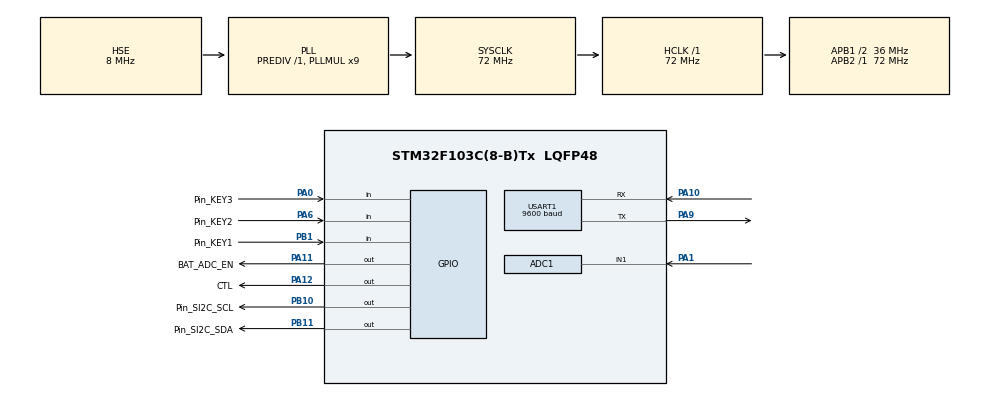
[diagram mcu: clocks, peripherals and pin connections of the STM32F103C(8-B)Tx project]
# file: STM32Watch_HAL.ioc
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ADC1.Channel-0\#ChannelRegularConversion=ADC_CHANNEL_1
ADC1.NbrOfConversionFlag=1
ADC1.Rank-0\#ChannelRegularConversion=1
ADC1.SamplingTime-0\#ChannelRegularConversion=ADC_SAMPLETIME_55CYCLES_5
ADC1.master=1
Mcu.Family=STM32F1
Mcu.Name=STM32F103C(8-B)Tx
Mcu.Package=LQFP48
NVIC.PriorityGroup=NVIC_PRIORITYGROUP_2
NVIC.TIM2_IRQn=true\:2\:1\:true\:false\:true\:true\:true\:true
NVIC.USART1_IRQn=true\:1\:1\:true\:false\:true\:true\:true\:true
PA0-WKUP.GPIO_Label=Pin_KEY3
PA0-WKUP.GPIO_PuPd=GPIO_PULLDOWN
PA0-WKUP.Signal=GPIO_Input
PA1.Signal=ADCx_IN1
PA10.GPIO_PuPd=GPIO_PULLUP
PA10.Mode=Asynchronous
PA10.Signal=USART1_RX
PA11.GPIO_Label=BAT_ADC_EN
PA11.GPIO_Speed=GPIO_SPEED_FREQ_HIGH
PA11.PinState=GPIO_PIN_RESET
PA11.Signal=GPIO_Output
PA12.GPIO_Label=CTL
PA12.GPIO_Speed=GPIO_SPEED_FREQ_HIGH
PA12.PinState=GPIO_PIN_SET
PA12.Signal=GPIO_Output
PA13.Mode=Serial_Wire
PA13.Signal=SYS_JTMS-SWDIO
PA14.Mode=Serial_Wire
PA14.Signal=SYS_JTCK-SWCLK
PA6.GPIO_Label=Pin_KEY2
PA6.GPIO_PuPd=GPIO_PULLUP
PA6.Signal=GPIO_Input
PA9.Mode=Asynchronous
PA9.Signal=USART1_TX
PB1.GPIO_Label=Pin_KEY1
PB1.GPIO_PuPd=GPIO_PULLUP
PB1.Signal=GPIO_Input
PB10.GPIO_Label=Pin_SI2C_SCL
PB10.GPIO_ModeDefaultOutputPP=GPIO_MODE_OUTPUT_OD
PB10.GPIO_PuPd=GPIO_NOPULL
PB10.GPIO_Speed=GPIO_SPEED_FREQ_HIGH
PB10.PinState=GPIO_PIN_SET
PB10.Signal=GPIO_Output
PB11.GPIO_Label=Pin_SI2C_SDA
PB11.GPIO_ModeDefaultOutputPP=GPIO_MODE_OUTPUT_OD
PB11.GPIO_PuPd=GPIO_NOPULL
PB11.GPIO_Speed=GPIO_SPEED_FREQ_HIGH
PB11.PinState=GPIO_PIN_SET
PB11.Signal=GPIO_Output
PC14-OSC32_IN.Mode=LSE-External-Oscillator
PC14-OSC32_IN.Signal=RCC_OSC32_IN
PC15-OSC32_OUT.Mode=LSE-External-Oscillator
PC15-OSC32_OUT.Signal=RCC_OSC32_OUT
PD0-OSC_IN.Mode=HSE-External-Oscillator
PD0-OSC_IN.Signal=RCC_OSC_IN
PD1-OSC_OUT.Mode=HSE-External-Oscillator
PD1-OSC_OUT.Signal=RCC_OSC_OUT
ProjectManager.HeapSize=0x200
ProjectManager.StackSize=0x400
ProjectManager.TargetToolchain=MDK-ARM V5.32
RCC.ADCPresc=RCC_ADCPCLK2_DIV6
RCC.AHBFreq_Value=72000000
RCC.APB1CLKDivider=RCC_HCLK_DIV2
RCC.APB1Freq_Value=36000000
RCC.APB1TimFreq_Value=72000000
RCC.APB2Freq_Value=72000000
RCC.APB2TimFreq_Value=72000000
RCC.HCLKFreq_Value=72000000
RCC.PLLMUL=RCC_PLL_MUL9
RCC.PLLSourceVirtual=RCC_PLLSOURCE_HSE
RCC.RTCClockSelection=RCC_RTCCLKSOURCE_LSE
RCC.SYSCLKFreq_VALUE=72000000
RCC.SYSCLKSource=RCC_SYSCLKSOURCE_PLLCLK
RCC.USBFreq_Value=72000000
SH.ADCx_IN1.0=ADC1_IN1,IN1
TIM2.AutoReloadPreload=TIM_AUTORELOAD_PRELOAD_ENABLE
TIM2.Period=99
TIM2.Prescaler=719
USART1.BaudRate=9600
USART1.VirtualMode=VM_ASYNC
VP_RTC_VS_RTC_Activate.Mode=RTC_Enabled
VP_TIM2_VS_ClockSourceINT.Mode=Internal
board=custom

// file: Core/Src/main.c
/* USER CODE BEGIN Header */
/**
  ******************************************************************************
  * @file           : main.c
  * @brief          : Main program body
  ******************************************************************************
  * @attention
  *
  * Copyright (c) 2026 STMicroelectronics.
  * All rights reserved.
  *
  * This software is licensed under terms that can be found in the LICENSE file
  * in the root directory of this software component.
  * If no LICENSE file comes with this software, it is provided AS-IS.
  *
  ******************************************************************************
  */
/* USER CODE END Header */
#include "main.h"

ADC_HandleTypeDef hadc1;

RTC_HandleTypeDef hrtc;

TIM_HandleTypeDef htim2;

UART_HandleTypeDef huart1;

/* USER CODE BEGIN PV */
uint8_t RxByte;        // Rx接收到的数据
extern RTC_TimeTypeDef sTime;
extern RTC_DateTypeDef sDate;

/* USER CODE END PV */

void SystemClock_Config(void);
static void MX_GPIO_Init(void);
static void MX_ADC1_Init(void);
static void MX_RTC_Init(void);
static void MX_TIM2_Init(void);
static void MX_USART1_UART_Init(void);

/* USER CODE BEGIN 0 */

uint8_t free_sec; //???????

/* USER CODE END 0 */

int main(void)
{

  /* USER CODE BEGIN 1 */

	int DisplayPage;
	extern int press_time;
	extern uint8_t Key_Num;
	//uint8_t RxByte;        // ?????Rx???????????

  /* USER CODE END 1 */

  /* MCU Configuration--------------------------------------------------------*/

  /* Reset of all peripherals, Initializes the Flash interface and the Systick. */
  HAL_Init();

  /* Configure the system clock */
  SystemClock_Config();

  /* Initialize all configured peripherals */
  MX_GPIO_Init();
  MX_ADC1_Init();
  MX_RTC_Init();
  MX_TIM2_Init();
  MX_USART1_UART_Init();
  /* USER CODE BEGIN 2 */

	/*OLED初始化*/
	OLED_Init();
	OLED_Clear();

	HAL_TIM_Base_Start_IT(&htim2);    //使能TIM2
	HAL_UART_Receive_IT(&huart1, &RxByte, sizeof(RxByte));//使能USART1

  /* USER CODE END 2 */

  /* Infinite loop */
  /* USER CODE BEGIN WHILE */
  while (1)
  {

		DisplayPage=Interaction_MainPage();
		switch(DisplayPage)
			{
				case 1:      Enter_Menu();    							break;
				case 2:			Interaction_SettingPage();    	break;
				default: 																		break;
			}

    /* USER CODE END WHILE */

  }
}

void SystemClock_Config(void)
{
  RCC_OscInitTypeDef RCC_OscInitStruct = {0};
  RCC_ClkInitTypeDef RCC_ClkInitStruct = {0};
  RCC_PeriphCLKInitTypeDef PeriphClkInit = {0};

  /** Initializes the RCC Oscillators according to the specified parameters
  * in the RCC_OscInitTypeDef structure.
  */
  RCC_OscInitStruct.OscillatorType = RCC_OSCILLATORTYPE_HSE|RCC_OSCILLATORTYPE_LSE;
  RCC_OscInitStruct.HSEState = RCC_HSE_ON;
  RCC_OscInitStruct.HSEPredivValue = RCC_HSE_PREDIV_DIV1;
  RCC_OscInitStruct.LSEState = RCC_LSE_ON;
  RCC_OscInitStruct.HSIState = RCC_HSI_ON;
  RCC_OscInitStruct.PLL.PLLState = RCC_PLL_ON;
  RCC_OscInitStruct.PLL.PLLSource = RCC_PLLSOURCE_HSE;
  RCC_OscInitStruct.PLL.PLLMUL = RCC_PLL_MUL9;
  if (HAL_RCC_OscConfig(&RCC_OscInitStruct) != HAL_OK)
  {
    Error_Handler();
  }

  /** Initializes the CPU, AHB and APB buses clocks
  */
  RCC_ClkInitStruct.ClockType = RCC_CLOCKTYPE_HCLK|RCC_CLOCKTYPE_SYSCLK
                              |RCC_CLOCKTYPE_PCLK1|RCC_CLOCKTYPE_PCLK2;
  RCC_ClkInitStruct.SYSCLKSource = RCC_SYSCLKSOURCE_PLLCLK;
  RCC_ClkInitStruct.AHBCLKDivider = RCC_SYSCLK_DIV1;
  RCC_ClkInitStruct.APB1CLKDivider = RCC_HCLK_DIV2;
  RCC_ClkInitStruct.APB2CLKDivider = RCC_HCLK_DIV1;

  if (HAL_RCC_ClockConfig(&RCC_ClkInitStruct, FLASH_LATENCY_2) != HAL_OK)
  {
    Error_Handler();
  }
  PeriphClkInit.PeriphClockSelection = RCC_PERIPHCLK_RTC|RCC_PERIPHCLK_ADC;
  PeriphClkInit.RTCClockSelection = RCC_RTCCLKSOURCE_LSE;
  PeriphClkInit.AdcClockSelection = RCC_ADCPCLK2_DIV6;
  if (HAL_RCCEx_PeriphCLKConfig(&PeriphClkInit) != HAL_OK)
  {
    Error_Handler();
  }
}

static void MX_ADC1_Init(void)
{

  ADC_ChannelConfTypeDef sConfig = {0};

  /** Common config
  */
  hadc1.Instance = ADC1;
  hadc1.Init.ScanConvMode = ADC_SCAN_DISABLE;
  hadc1.Init.ContinuousConvMode = DISABLE;
  hadc1.Init.DiscontinuousConvMode = DISABLE;
  hadc1.Init.ExternalTrigConv = ADC_SOFTWARE_START;
  hadc1.Init.DataAlign = ADC_DATAALIGN_RIGHT;
  hadc1.Init.NbrOfConversion = 1;
  if (HAL_ADC_Init(&hadc1) != HAL_OK)
  {
    Error_Handler();
  }

  /** Configure Regular Channel
  */
  sConfig.Channel = ADC_CHANNEL_1;
  sConfig.Rank = ADC_REGULAR_RANK_1;
  sConfig.SamplingTime = ADC_SAMPLETIME_55CYCLES_5;
  if (HAL_ADC_ConfigChannel(&hadc1, &sConfig) != HAL_OK)
  {
    Error_Handler();
  }

}

static void MX_RTC_Init(void)
{

  /* USER CODE BEGIN RTC_Init 0 */

	//上电唤醒 OR 待机唤醒
	if (HAL_RTCEx_BKUPRead(&hrtc,RTC_BKP_DR1) == 0xA5A5)
  {
//		// 恢复日期到 DateToUpdate
//    sDate.Year  = HAL_RTCEx_BKUPRead(&hrtc, RTC_BKP_DR2) >> 8;
//    sDate.Month = HAL_RTCEx_BKUPRead(&hrtc, RTC_BKP_DR2) & 0xFF;
//		//0xFF 的二进制是 0000 0000 0000 0000 0000 0000 1111 1111
//    sDate.Date  = HAL_RTCEx_BKUPRead(&hrtc, RTC_BKP_DR3) >> 8;
//
//		sTime.Hours = HAL_RTCEx_BKUPRead(&hrtc, RTC_BKP_DR3) & 0xFF;
//		sTime.Minutes = HAL_RTCEx_BKUPRead(&hrtc, RTC_BKP_DR4) >> 8;
//		sTime.Seconds = HAL_RTCEx_BKUPRead(&hrtc, RTC_BKP_DR4) & 0xFF;
//
//    HAL_RTC_SetDate(&hrtc, &sDate, RTC_FORMAT_BIN);  // 只更新 DateToUpdate，不碰 CNT

		return; //跳过初始化
  }

  /* USER CODE END RTC_Init 0 */

  /** Initialize RTC Only
  */
  hrtc.Instance = RTC;
  hrtc.Init.AsynchPrediv = RTC_AUTO_1_SECOND;
  hrtc.Init.OutPut = RTC_OUTPUTSOURCE_ALARM;
  if (HAL_RTC_Init(&hrtc) != HAL_OK)
  {
    Error_Handler();
  }
  /* USER CODE BEGIN RTC_Init 2 */
	//MyRTC_ReadTime();
	MyRTC_SetTime(&hrtc);
	HAL_RTCEx_BKUPWrite(&hrtc, RTC_BKP_DR1, 0xA5A5);//指定备份寄存器位置写入自定标志位用于判断是否为初次初始化

  /* USER CODE END RTC_Init 2 */

}

static void MX_TIM2_Init(void)
{

  TIM_ClockConfigTypeDef sClockSourceConfig = {0};
  TIM_MasterConfigTypeDef sMasterConfig = {0};

  htim2.Instance = TIM2;
  htim2.Init.Prescaler = 719;
  htim2.Init.CounterMode = TIM_COUNTERMODE_UP;
  htim2.Init.Period = 99;
  htim2.Init.ClockDivision = TIM_CLOCKDIVISION_DIV1;
  htim2.Init.AutoReloadPreload = TIM_AUTORELOAD_PRELOAD_ENABLE;
  if (HAL_TIM_Base_Init(&htim2) != HAL_OK)
  {
    Error_Handler();
  }
  sClockSourceConfig.ClockSource = TIM_CLOCKSOURCE_INTERNAL;
  if (HAL_TIM_ConfigClockSource(&htim2, &sClockSourceConfig) != HAL_OK)
  {
    Error_Handler();
  }
  sMasterConfig.MasterOutputTrigger = TIM_TRGO_RESET;
  sMasterConfig.MasterSlaveMode = TIM_MASTERSLAVEMODE_DISABLE;
  if (HAL_TIMEx_MasterConfigSynchronization(&htim2, &sMasterConfig) != HAL_OK)
  {
    Error_Handler();
  }

}

static void MX_USART1_UART_Init(void)
{

  huart1.Instance = USART1;
  huart1.Init.BaudRate = 9600;
  huart1.Init.WordLength = UART_WORDLENGTH_8B;
  huart1.Init.StopBits = UART_STOPBITS_1;
  huart1.Init.Parity = UART_PARITY_NONE;
  huart1.Init.Mode = UART_MODE_TX_RX;
  huart1.Init.HwFlowCtl = UART_HWCONTROL_NONE;
  huart1.Init.OverSampling = UART_OVERSAMPLING_16;
  if (HAL_UART_Init(&huart1) != HAL_OK)
  {
    Error_Handler();
  }

}

static void MX_GPIO_Init(void)
{
  GPIO_InitTypeDef GPIO_InitStruct = {0};

  /* GPIO Ports Clock Enable */
  __HAL_RCC_GPIOC_CLK_ENABLE();
  __HAL_RCC_GPIOD_CLK_ENABLE();
  __HAL_RCC_GPIOA_CLK_ENABLE();
  __HAL_RCC_GPIOB_CLK_ENABLE();

  /*Configure GPIO pin Output Level */
  HAL_GPIO_WritePin(GPIOB, Pin_SI2C_SCL_Pin|Pin_SI2C_SDA_Pin, GPIO_PIN_SET);

  /*Configure GPIO pin Output Level */
  HAL_GPIO_WritePin(BAT_ADC_EN_GPIO_Port, BAT_ADC_EN_Pin, GPIO_PIN_RESET);

  /*Configure GPIO pin Output Level */
  HAL_GPIO_WritePin(CTL_GPIO_Port, CTL_Pin, GPIO_PIN_SET);

  /*Configure GPIO pin : Pin_KEY3_Pin */
  GPIO_InitStruct.Pin = Pin_KEY3_Pin;
  GPIO_InitStruct.Mode = GPIO_MODE_INPUT;
  GPIO_InitStruct.Pull = GPIO_PULLDOWN;
  HAL_GPIO_Init(Pin_KEY3_GPIO_Port, &GPIO_InitStruct);

  /*Configure GPIO pin : Pin_KEY2_Pin */
  GPIO_InitStruct.Pin = Pin_KEY2_Pin;
  GPIO_InitStruct.Mode = GPIO_MODE_INPUT;
  GPIO_InitStruct.Pull = GPIO_PULLUP;
  HAL_GPIO_Init(Pin_KEY2_GPIO_Port, &GPIO_InitStruct);

  /*Configure GPIO pin : Pin_KEY1_Pin */
  GPIO_InitStruct.Pin = Pin_KEY1_Pin;
  GPIO_InitStruct.Mode = GPIO_MODE_INPUT;
  GPIO_InitStruct.Pull = GPIO_PULLUP;
  HAL_GPIO_Init(Pin_KEY1_GPIO_Port, &GPIO_InitStruct);

  /*Configure GPIO pins : Pin_SI2C_SCL_Pin Pin_SI2C_SDA_Pin */
  GPIO_InitStruct.Pin = Pin_SI2C_SCL_Pin|Pin_SI2C_SDA_Pin;
  GPIO_InitStruct.Mode = GPIO_MODE_OUTPUT_OD;
  GPIO_InitStruct.Pull = GPIO_NOPULL;
  GPIO_InitStruct.Speed = GPIO_SPEED_FREQ_HIGH;
  HAL_GPIO_Init(GPIOB, &GPIO_InitStruct);

  /*Configure GPIO pins : BAT_ADC_EN_Pin CTL_Pin */
  GPIO_InitStruct.Pin = BAT_ADC_EN_Pin|CTL_Pin;
  GPIO_InitStruct.Mode = GPIO_MODE_OUTPUT_PP;
  GPIO_InitStruct.Pull = GPIO_NOPULL;
  GPIO_InitStruct.Speed = GPIO_SPEED_FREQ_HIGH;
  HAL_GPIO_Init(GPIOA, &GPIO_InitStruct);

}

/* USER CODE BEGIN 4 */

void isEnter_StandByMode(void)
{

	static uint16_t count = 0;

  if (++count >= 1000) {                 //TIM2频率为u1000Hz(1ms), 需要分频为1s
      count = 0;
		if (++free_sec >= 120) //120秒为操作进入待机模式
		{
			free_sec = 0;
			OLED_Clear();
			OLED_Update();
//			// 待机前调用
//			RTC_DateTypeDef sDate;
//			RTC_TimeTypeDef sTime;
//			HAL_RTC_GetDate(&hrtc, &sDate, RTC_FORMAT_BIN);
//			HAL_RTC_GetTime(&hrtc, &sTime, RTC_FORMAT_BIN);
//			HAL_RTCEx_BKUPWrite(&hrtc, RTC_BKP_DR2, (sDate.Year << 8) | sDate.Month);  // 年月
//			// 把 Year 移到高 8 位；把 Month 放到低 8 位；数据为16位，高16位再次补零然后存入32位
//			HAL_RTCEx_BKUPWrite(&hrtc, RTC_BKP_DR3, (sDate.Date << 8) | sTime.Hours);  // 日时
//			HAL_RTCEx_BKUPWrite(&hrtc, RTC_BKP_DR4, (sTime.Minutes << 8) | sTime.Seconds); // 分秒
			HAL_PWR_EnableWakeUpPin(PWR_WAKEUP_PIN1);//使能PA0为WAKEUP引脚
			HAL_PWR_EnterSTANDBYMode();	//进入StandBy模式
			//SystemClock_Config();										//重启时钟，这里不需要
		}
	}
}

/* USER CODE END 4 */

void Error_Handler(void)
{
  __disable_irq();
  while (1)
  {
  }
}
